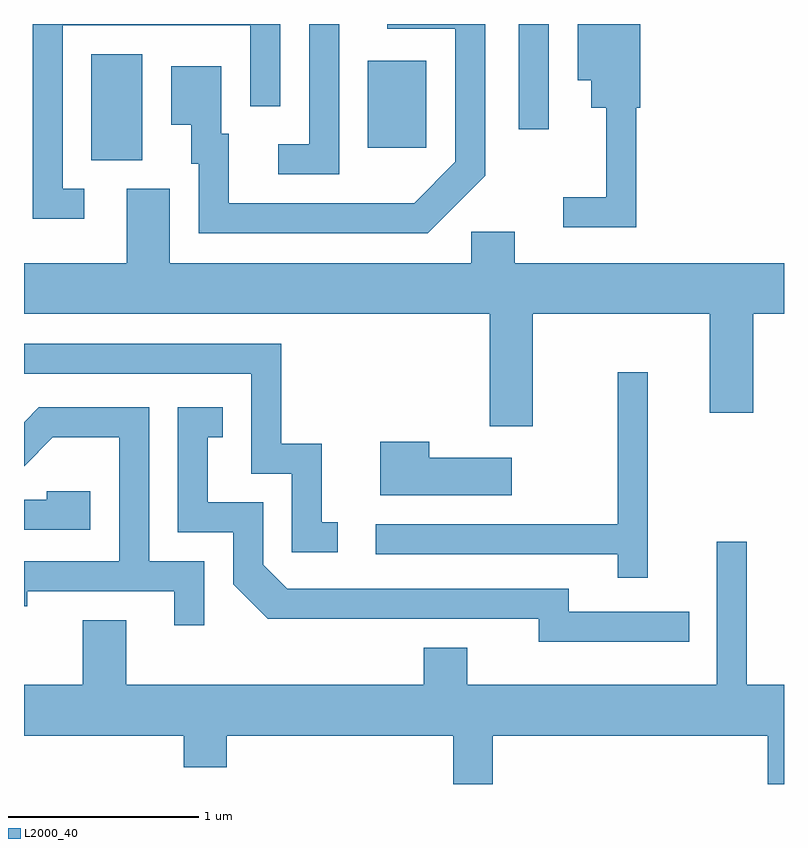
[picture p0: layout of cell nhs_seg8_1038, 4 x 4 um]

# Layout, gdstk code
import gdstk
lib = gdstk.Library(unit=1e-6, precision=1e-09)
def R(c, l, rs):  # rectangles x0, y0, x1, y1
    for r in rs: c.add(gdstk.rectangle(r[:2], r[2:], *l))
def P(c, l, *ps):  # polygons
    for p in ps: c.add(gdstk.Polygon(p, *l))
L2000_40 = (2000, 40)

nhs_seg8_1038 = lib.new_cell('nhs_seg8_1038')
R(nhs_seg8_1038, L2000_40, [(215.966,1881.626,216.234,1882.184), (217.421,1881.691,217.729,1882.149), (218.216,1881.788,218.374,1882.342)])
P(nhs_seg8_1038, L2000_40, [(218.039,1881.544),(218.039,1882.342),(217.523,1882.342),(217.523,1882.316),(217.881,1882.316),(217.881,1881.617),(217.664,1881.399),(216.689,1881.399),(216.689,1881.764),(216.649,1881.764),(216.649,1882.119),(216.386,1882.119),(216.386,1881.811),(216.491,1881.811),(216.491,1881.606),(216.531,1881.606),(216.531,1881.241),(217.737,1881.241)],
  [(215.928,1881.474),(215.814,1881.474),(215.814,1882.336),(216.801,1882.336),(216.801,1881.908),(216.959,1881.908),(216.959,1882.342),(215.656,1882.342),(215.656,1881.316),(215.928,1881.316)],
  [(218.834,1881.901),(218.854,1881.901),(218.854,1882.342),(218.526,1882.342),(218.526,1882.046),(218.596,1882.046),(218.596,1881.901),(218.676,1881.901),(218.676,1881.429),(218.448,1881.429),(218.448,1881.271),(218.834,1881.271)],
  [(217.269,1882.342),(217.111,1882.342),(217.111,1881.709),(216.948,1881.709),(216.948,1881.551),(217.269,1881.551)],
  [(218.289,1880.816),(219.221,1880.816),(219.221,1880.296),(219.449,1880.296),(219.449,1880.816),(219.611,1880.816),(219.611,1881.084),(218.194,1881.084),(218.194,1881.249),(217.966,1881.249),(217.966,1881.084),(216.379,1881.084),(216.379,1881.474),(216.151,1881.474),(216.151,1881.084),(215.611,1881.084),(215.611,1880.816),(218.061,1880.816),(218.061,1880.226),(218.289,1880.226)],
  [(217.263,1879.719),(217.179,1879.719),(217.179,1880.134),(216.964,1880.134),(216.964,1880.659),(215.611,1880.659),(215.611,1880.501),(216.806,1880.501),(216.806,1879.976),(217.021,1879.976),(217.021,1879.561),(217.263,1879.561)],
  [(218.894,1880.508),(218.736,1880.508),(218.736,1879.709),(217.463,1879.709),(217.463,1879.551),(218.736,1879.551),(218.736,1879.428),(218.894,1879.428)],
  [(216.559,1879.514),(216.269,1879.514),(216.269,1880.324),(215.689,1880.324),(215.611,1880.246),(215.611,1880.015),(215.762,1880.166),(216.111,1880.166),(216.111,1879.514),(215.611,1879.514),(215.611,1879.278),(215.629,1879.278),(215.629,1879.356),(216.401,1879.356),(216.401,1879.178),(216.559,1879.178)],
  [(219.113,1879.249),(218.479,1879.249),(218.479,1879.369),(216.997,1879.369),(216.869,1879.497),(216.869,1879.824),(216.579,1879.824),(216.579,1880.166),(216.658,1880.166),(216.658,1880.324),(216.421,1880.324),(216.421,1879.666),(216.711,1879.666),(216.711,1879.394),(216.894,1879.211),(218.321,1879.211),(218.321,1879.091),(219.113,1879.091)],
  [(218.179,1880.059),(217.744,1880.059),(217.744,1880.144),(217.486,1880.144),(217.486,1879.861),(218.179,1879.861)],
  [(215.959,1879.884),(215.731,1879.884),(215.731,1879.839),(215.611,1879.839),(215.611,1879.681),(215.959,1879.681)],
  [(218.079,1878.596),(219.526,1878.596),(219.526,1878.342),(219.611,1878.342),(219.611,1878.864),(219.414,1878.864),(219.414,1879.618),(219.256,1879.618),(219.256,1878.864),(217.944,1878.864),(217.944,1879.059),(217.716,1879.059),(217.716,1878.864),(216.149,1878.864),(216.149,1879.204),(215.921,1879.204),(215.921,1878.864),(215.611,1878.864),(215.611,1878.596),(216.451,1878.596),(216.451,1878.431),(216.679,1878.431),(216.679,1878.596),(217.871,1878.596),(217.871,1878.342),(218.079,1878.342)])

lib.write_gds('nhs_seg8_1038.gds')
